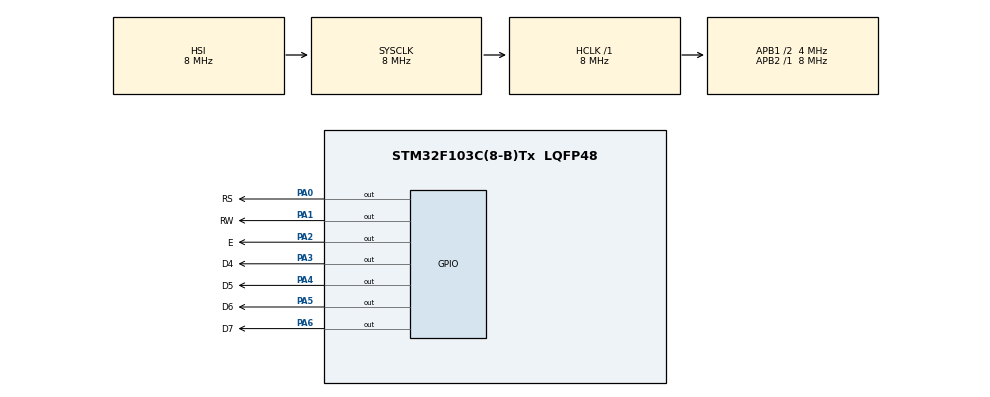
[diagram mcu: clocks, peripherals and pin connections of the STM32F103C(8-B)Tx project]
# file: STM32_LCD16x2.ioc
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Mcu.Family=STM32F1
Mcu.Name=STM32F103C(8-B)Tx
Mcu.Package=LQFP48
NVIC.PriorityGroup=NVIC_PRIORITYGROUP_4
PA0-WKUP.GPIO_Label=RS
PA0-WKUP.Signal=GPIO_Output
PA1.GPIO_Label=RW
PA1.Signal=GPIO_Output
PA13.Mode=Serial_Wire
PA13.Signal=SYS_JTMS-SWDIO
PA14.Mode=Serial_Wire
PA14.Signal=SYS_JTCK-SWCLK
PA2.GPIO_Label=E
PA2.Signal=GPIO_Output
PA3.GPIO_Label=D4
PA3.Signal=GPIO_Output
PA4.GPIO_Label=D5
PA4.Signal=GPIO_Output
PA5.GPIO_Label=D6
PA5.Signal=GPIO_Output
PA6.GPIO_Label=D7
PA6.Signal=GPIO_Output
ProjectManager.HeapSize=0x200
ProjectManager.StackSize=0x400
ProjectManager.TargetToolchain=STM32CubeIDE
RCC.AHBFreq_Value=8000000
RCC.APB1CLKDivider=RCC_HCLK_DIV2
RCC.APB1Freq_Value=4000000
RCC.APB1TimFreq_Value=8000000
RCC.APB2Freq_Value=8000000
RCC.APB2TimFreq_Value=8000000
RCC.HCLKFreq_Value=8000000
RCC.SYSCLKFreq_VALUE=8000000
RCC.USBFreq_Value=8000000
board=custom

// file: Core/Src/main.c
/* USER CODE BEGIN Header */
/**
  ******************************************************************************
  * @file           : main.c
  * @brief          : Main program body
  ******************************************************************************
  * @attention
  *
  * Copyright (c) 2023 STMicroelectronics.
  * All rights reserved.
  *
  * This software is licensed under terms that can be found in the LICENSE file
  * in the root directory of this software component.
  * If no LICENSE file comes with this software, it is provided AS-IS.
  *
  ******************************************************************************
  */
/* USER CODE END Header */
#include "main.h"

/* USER CODE BEGIN Includes */
#include "lcd.h"
/* USER CODE END Includes */

void SystemClock_Config(void);
static void MX_GPIO_Init(void);

int main(void)
{

  /* MCU Configuration--------------------------------------------------------*/

  /* Reset of all peripherals, Initializes the Flash interface and the Systick. */
  HAL_Init();

  /* Configure the system clock */
  SystemClock_Config();

  /* Initialize all configured peripherals */
  MX_GPIO_Init();
  /* USER CODE BEGIN 2 */

  // create array of ports
  Lcd_PortType ports[] = {GPIOA, GPIOA, GPIOA, GPIOA};

  // create array of pins
  Lcd_PinType pins[] = {GPIO_PIN_3, GPIO_PIN_4, GPIO_PIN_5, GPIO_PIN_6};

  // create a LCD with above ports and pins + RS + E
  Lcd_HandleTypeDef lcd = Lcd_create(ports, pins, GPIOA, GPIO_PIN_0, GPIOA, GPIO_PIN_2, LCD_4_BIT_MODE);

  // initialize lcd
  Lcd_init(&lcd);

  // add a switcher
  int switcher = 0;

  // add myName string
  char myName[] = "Pouria Amini!";

  if (switcher){
	  // create a costume font for each letter in Persian
	  uint8_t S[] = {0x00, 0x00, 0x15, 0x15, 0x1F, 0x00, 0x00, 0x00};
	  uint8_t L[] = {0x04, 0x04, 0x04, 0x04, 0x1F, 0x00, 0x00, 0x00};
	  uint8_t A[] = {0x04, 0x04, 0x04, 0x04, 0x07, 0x00, 0x00, 0x00};
	  uint8_t M[] = {0x00, 0x00, 0x07, 0x05, 0x1F, 0x10, 0x10, 0x10};

	  // set cursor to start writing from that point
	  Lcd_cursor(&lcd, 0, 0);
	  // write into LCD starting from cursor position
	  Lcd_string(&lcd, myName);

	  // define and save new characters into CGRAM
	  Lcd_define_char(&lcd, 1, S);
	  Lcd_define_char(&lcd, 2, L);
	  Lcd_define_char(&lcd, 3, A);
	  Lcd_define_char(&lcd, 4, M);

	  // set the cursor
	  Lcd_cursor(&lcd, 1, 0);

	  // write LCD each character saved in CGRAM backward (R2L)
	  lcd_write_data(&lcd, 4);
	  lcd_write_data(&lcd, 3);
	  lcd_write_data(&lcd, 2);
	  lcd_write_data(&lcd, 1);

  } else {
	  // create a costume font for each letter in Persian
	  uint8_t P[] = {0x00, 0x01, 0x01, 0x01, 0x1F, 0x0A, 0x04, 0x00};
	  uint8_t U[] = {0x00, 0x1E, 0x12, 0x12, 0x1F, 0x02, 0x04, 0x18};
	  uint8_t R[] = {0x00, 0x00, 0x01, 0x01, 0x03, 0x06, 0x0C, 0x18};
	  uint8_t I[] = {0x00, 0x01, 0x01, 0x01, 0x1F, 0x00, 0x0A, 0x00};
	  uint8_t A[] = {0x04, 0x04, 0x04, 0x04, 0x07, 0x00, 0x00, 0x00};

	  // set cursor to start writing from that point
	  Lcd_cursor(&lcd, 0, 0);
	  // write into LCD starting from cursor position
	  Lcd_string(&lcd, myName);

	  // define and save new characters into CGRAM
	  Lcd_define_char(&lcd, 1, P);
	  Lcd_define_char(&lcd, 2, U);
	  Lcd_define_char(&lcd, 3, R);
	  Lcd_define_char(&lcd, 4, I);
	  Lcd_define_char(&lcd, 5, A);

	  // set the cursor
	  Lcd_cursor(&lcd, 1, 0);

	  // write LCD each character saved in CGRAM backward (R2L)
	  lcd_write_data(&lcd, 5);
	  lcd_write_data(&lcd, 4);
	  lcd_write_data(&lcd, 3);
	  lcd_write_data(&lcd, 2);
	  lcd_write_data(&lcd, 1);
  }

  /* USER CODE END 2 */

  /* Infinite loop */
  while (1)
  {

  }
}

void SystemClock_Config(void)
{
  RCC_OscInitTypeDef RCC_OscInitStruct = {0};
  RCC_ClkInitTypeDef RCC_ClkInitStruct = {0};

  /** Initializes the RCC Oscillators according to the specified parameters
  * in the RCC_OscInitTypeDef structure.
  */
  RCC_OscInitStruct.OscillatorType = RCC_OSCILLATORTYPE_HSI;
  RCC_OscInitStruct.HSIState = RCC_HSI_ON;
  RCC_OscInitStruct.HSICalibrationValue = RCC_HSICALIBRATION_DEFAULT;
  RCC_OscInitStruct.PLL.PLLState = RCC_PLL_NONE;
  if (HAL_RCC_OscConfig(&RCC_OscInitStruct) != HAL_OK)
  {
    Error_Handler();
  }

  /** Initializes the CPU, AHB and APB buses clocks
  */
  RCC_ClkInitStruct.ClockType = RCC_CLOCKTYPE_HCLK|RCC_CLOCKTYPE_SYSCLK
                              |RCC_CLOCKTYPE_PCLK1|RCC_CLOCKTYPE_PCLK2;
  RCC_ClkInitStruct.SYSCLKSource = RCC_SYSCLKSOURCE_HSI;
  RCC_ClkInitStruct.AHBCLKDivider = RCC_SYSCLK_DIV1;
  RCC_ClkInitStruct.APB1CLKDivider = RCC_HCLK_DIV2;
  RCC_ClkInitStruct.APB2CLKDivider = RCC_HCLK_DIV1;

  if (HAL_RCC_ClockConfig(&RCC_ClkInitStruct, FLASH_LATENCY_0) != HAL_OK)
  {
    Error_Handler();
  }
}

static void MX_GPIO_Init(void)
{
  GPIO_InitTypeDef GPIO_InitStruct = {0};

  /* GPIO Ports Clock Enable */
  __HAL_RCC_GPIOA_CLK_ENABLE();

  /*Configure GPIO pin Output Level */
  HAL_GPIO_WritePin(GPIOA, RS_Pin|RW_Pin|E_Pin|D4_Pin
                          |D5_Pin|D6_Pin|D7_Pin, GPIO_PIN_RESET);

  /*Configure GPIO pins : RS_Pin RW_Pin E_Pin D4_Pin
                           D5_Pin D6_Pin D7_Pin */
  GPIO_InitStruct.Pin = RS_Pin|RW_Pin|E_Pin|D4_Pin
                          |D5_Pin|D6_Pin|D7_Pin;
  GPIO_InitStruct.Mode = GPIO_MODE_OUTPUT_PP;
  GPIO_InitStruct.Pull = GPIO_NOPULL;
  GPIO_InitStruct.Speed = GPIO_SPEED_FREQ_LOW;
  HAL_GPIO_Init(GPIOA, &GPIO_InitStruct);

}

void Error_Handler(void)
{
  __disable_irq();
  while (1)
  {
  }
}
